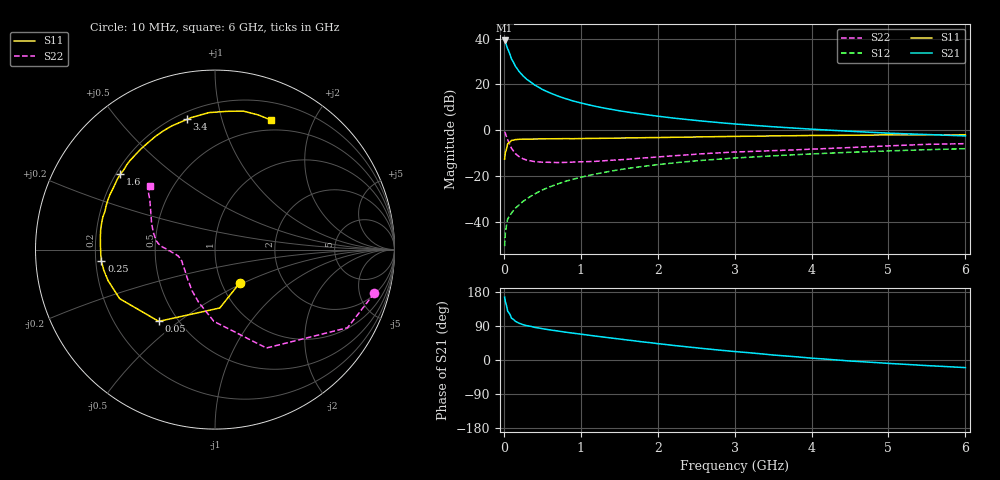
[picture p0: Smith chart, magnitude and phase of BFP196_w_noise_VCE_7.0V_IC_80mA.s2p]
! (c) 2017  Infineon Technologies AG, Munich
! Infineon Technologies  Discrete & RF Semiconductors
! BFP196
! VCE =  7.0 V,  IC =  80 mA
! Common Emitter S-Parameters:  Jan 2017
# GHz  S  MA  R  50
!  f  S11  S21  S12  S22
! GHz  MAG  ANG  MAG  ANG  MAG  ANG  MAG  ANG
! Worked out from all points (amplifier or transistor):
!   77 points, 10 MHz to 6 GHz, reference 50 ohm
!   highest |S21| = 39.2 dB at 10 MHz (marker M1)
!   |S21| within 3 dB of that: start of sweep to 42.96 MHz
!   unconditionally stable (mu >= 1): 460.7 MHz to 2.438 GHz
!   at 130 MHz: K = 0.70, MSG = 32.1 dB, |S12| = -34.9 dB
!   at 2.2 GHz: K = 1.01, MAG = 9.2 dB, |S12| = -14.4 dB
!   at 6 GHz: K = 0.95, MSG = 2.8 dB, |S12| = -8.1 dB
!   lowest NFmin = 1.78 dB at 450 MHz
!   S11 on the Smith chart (normalised r, x): 10 MHz: 1.22, -0.48; 50 MHz: 0.39, -0.42; 250 MHz: 0.22, -0.05; 1.6 GHz: 0.22, +0.33; 3.4 GHz: 0.24, +0.78; 6 GHz: 0.39, +1.46
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0.01  0.2315 -53.6  91.3 166.0  0.0029 80.8  0.9203 -15.3
0.02  0.3264 -85.3  85.3 153.8  0.0056 75.2  0.8573 -30.5
0.05  0.508 -128.1  59.88 128.5  0.0114 56.7  0.6187 -62.4
0.1  0.5975 -152.8  35.93 110.3  0.0153 56.4  0.3997 -90.9
0.15  0.6203 -163.8  24.96 102.1  0.0196 58.1  0.3062 -107.5
0.2  0.6303 -169.6  19.02 97.0  0.0233 63.4  0.262 -119.3
0.25  0.6361 -174.1  15.32 93.3  0.0277 63.5  0.2354 -127.6
0.3  0.6367 -177.3  12.81 90.6  0.0315 65.6  0.2204 -134.8
0.4  0.6389 177.9  9.696 86.2  0.0401 68.6  0.2053 -144.2
0.5  0.6426 173.6  7.767 82.6  0.049 68.8  0.1991 -150.8
0.6  0.6464 170.2  6.505 79.4  0.0578 68.6  0.1976 -155.9
0.7  0.6483 167.1  5.579 76.6  0.0665 69.0  0.1952 -159.6
0.9  0.6491 161.0  4.343 70.8  0.0843 67.3  0.1998 -164.5
1.1  0.6578 155.1  3.582 65.6  0.1018 65.5  0.2051 -168.6
1.3  0.662 149.5  3.043 60.4  0.1188 63.2  0.2137 -171.3
1.6  0.674 141.5  2.497 52.9  0.1444 59.3  0.2295 -175.0
2.1  0.692 128.6  1.925 41.0  0.1833 52.4  0.2664 -180.0
3.1  0.7318 107.5  1.326 20.7  0.2507 38.7  0.3363 169.8
3.4  0.7423 102.1  1.218 15.2  0.2682 35.1  0.3507 165.9
4.1  0.7649 91.0  1.027 3.5  0.3065 26.5  0.3894 155.5
5.1  0.7869 77.3  0.846 -10.1  0.3551 14.7  0.4595 142.4
6  0.7862 66.4  0.747 -20.1  0.3927 4.7  0.506 135.7
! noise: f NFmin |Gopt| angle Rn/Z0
0.45  1.78  0.5  -170  0.06
0.9  1.95  0.53  -157  0.1
1.9  2.8  0.7  -130  0.4
2.4  3.2  0.7  -116  0.87
